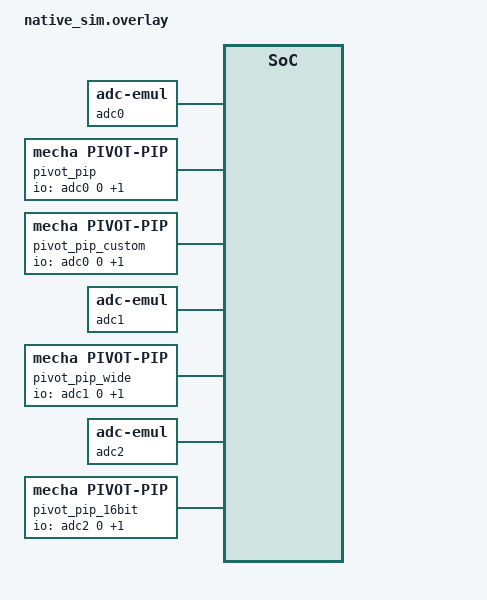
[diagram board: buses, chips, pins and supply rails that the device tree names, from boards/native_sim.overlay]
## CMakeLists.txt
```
# Copyright (c) 2026 Mecha Systems
# SPDX-License-Identifier: BSD-3-Clause

cmake_minimum_required(VERSION 3.20.0)

find_package(Zephyr REQUIRED HINTS $ENV{ZEPHYR_BASE})
project(pivot_pip)

target_sources(app PRIVATE src/main.c)
```

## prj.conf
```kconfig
CONFIG_ZTEST=y
CONFIG_INPUT=y
CONFIG_ADC=y
CONFIG_ADC_EMUL=y
```

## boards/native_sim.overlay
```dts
/*
 * Copyright (c) 2026 Mecha Systems
 *
 * SPDX-License-Identifier: BSD-3-Clause
 */

#include <zephyr/dt-bindings/adc/adc.h>
#include <zephyr/dt-bindings/input/input-event-codes.h>

/ {
	adc0: adc {
		compatible = "zephyr,adc-emul";
		nchannels = <2>;
		ref-internal-mv = <3300>;
		#io-channel-cells = <1>;
		#address-cells = <1>;
		#size-cells = <0>;
		status = "okay";

		channel@0 {
			reg = <0>;
			zephyr,gain = "ADC_GAIN_1";
			zephyr,reference = "ADC_REF_INTERNAL";
			zephyr,vref-mv = <3300>;
			zephyr,acquisition-time = <ADC_ACQ_TIME_DEFAULT>;
			zephyr,resolution = <12>;
		};

		channel@1 {
			reg = <1>;
			zephyr,gain = "ADC_GAIN_1";
			zephyr,reference = "ADC_REF_INTERNAL";
			zephyr,vref-mv = <3300>;
			zephyr,acquisition-time = <ADC_ACQ_TIME_DEFAULT>;
			zephyr,resolution = <12>;
		};
	};

	/* Defaults everywhere except the size of the stick and the sample time. */
	pivot_pip: pivot-pip {
		compatible = "mecha,pivot-pip";
		io-channels = <&adc0 0>, <&adc0 1>;
		io-channel-names = "x", "y";
		full-scale = <1000>;
		poll-period-ms = <4>;
	};

	/* Everything that can differ from the defaults, on the same two channels. */
	pivot_pip_custom: pivot-pip-custom {
		compatible = "mecha,pivot-pip";
		io-channels = <&adc0 0>, <&adc0 1>;
		io-channel-names = "x", "y";
		full-scale = <1000>;
		poll-period-ms = <4>;
		mode = "absolute";
		rel-codes = <INPUT_REL_RX INPUT_REL_RY>;
		abs-codes = <INPUT_ABS_RX INPUT_ABS_RY>;
		deadzone-percent = <10>;
		swapped-x-y;
		inverted-x;
	};

	/* An ADC wider than 16 bits, whose samples do not fit the driver. */
	adc1: adc-wide {
		compatible = "zephyr,adc-emul";
		nchannels = <2>;
		ref-internal-mv = <3300>;
		#io-channel-cells = <1>;
		#address-cells = <1>;
		#size-cells = <0>;
		status = "okay";

		channel@0 {
			reg = <0>;
			zephyr,gain = "ADC_GAIN_1";
			zephyr,reference = "ADC_REF_INTERNAL";
			zephyr,vref-mv = <3300>;
			zephyr,acquisition-time = <ADC_ACQ_TIME_DEFAULT>;
			zephyr,resolution = <24>;
		};

		channel@1 {
			reg = <1>;
			zephyr,gain = "ADC_GAIN_1";
			zephyr,reference = "ADC_REF_INTERNAL";
			zephyr,vref-mv = <3300>;
			zephyr,acquisition-time = <ADC_ACQ_TIME_DEFAULT>;
			zephyr,resolution = <24>;
		};
	};

	pivot_pip_wide: pivot-pip-wide {
		compatible = "mecha,pivot-pip";
		io-channels = <&adc1 0>, <&adc1 1>;
		io-channel-names = "x", "y";
		full-scale = <1000>;
	};

	/* A single-ended 16 bit ADC, which counts from 0 to 65535. */
	adc2: adc-16bit {
		compatible = "zephyr,adc-emul";
		nchannels = <2>;
		ref-internal-mv = <3300>;
		#io-channel-cells = <1>;
		#address-cells = <1>;
		#size-cells = <0>;
		status = "okay";

		channel@0 {
			reg = <0>;
			zephyr,gain = "ADC_GAIN_1";
			zephyr,reference = "ADC_REF_INTERNAL";
			zephyr,vref-mv = <3300>;
			zephyr,acquisition-time = <ADC_ACQ_TIME_DEFAULT>;
			zephyr,resolution = <16>;
		};

		channel@1 {
			reg = <1>;
			zephyr,gain = "ADC_GAIN_1";
			zephyr,reference = "ADC_REF_INTERNAL";
			zephyr,vref-mv = <3300>;
			zephyr,acquisition-time = <ADC_ACQ_TIME_DEFAULT>;
			zephyr,resolution = <16>;
		};
	};

	pivot_pip_16bit: pivot-pip-16bit {
		compatible = "mecha,pivot-pip";
		io-channels = <&adc2 0>, <&adc2 1>;
		io-channel-names = "x", "y";
		full-scale = <2000>;
		poll-period-ms = <4>;
	};
};
```

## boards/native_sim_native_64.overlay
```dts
/*
 * Copyright (c) 2026 Mecha Systems
 *
 * SPDX-License-Identifier: BSD-3-Clause
 */

#include "native_sim.overlay"
```

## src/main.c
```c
/*
 * Copyright (c) 2026 Mecha Systems
 *
 * SPDX-License-Identifier: BSD-3-Clause
 */

#include <stdlib.h>

#include <zephyr/device.h>
#include <zephyr/drivers/adc/adc_emul.h>
#include <zephyr/init.h>
#include <zephyr/input/input.h>
#include <zephyr/kernel.h>
#include <zephyr/sys/atomic.h>
#include <zephyr/ztest.h>

#include <mecha/input/pivot_pip.h>

#define PIP        DEVICE_DT_GET(DT_NODELABEL(pivot_pip))
#define PIP_CUSTOM DEVICE_DT_GET(DT_NODELABEL(pivot_pip_custom))
#define PIP_WIDE   DEVICE_DT_GET(DT_NODELABEL(pivot_pip_wide))
#define PIP_16BIT  DEVICE_DT_GET(DT_NODELABEL(pivot_pip_16bit))
#define ADC        DEVICE_DT_GET(DT_NODELABEL(adc0))
#define ADC_16BIT  DEVICE_DT_GET(DT_NODELABEL(adc2))

#define REST       2048
#define FULL_SCALE 1000
/* Rest value of the stick on the 16 bit ADC, just below the 32767 that a signed value reaches. */
#define REST_16BIT 32000

/* Events of the default stick, which uses INPUT_REL_X, INPUT_REL_Y, INPUT_ABS_X and INPUT_ABS_Y. */
static atomic_t dx;
static atomic_t dy;
static atomic_t abs_x;
static atomic_t abs_y;
static atomic_t rel_events;
static atomic_t abs_events;
static atomic_t other_codes;

/* Events of the custom stick, which uses the RX and RY codes. */
static atomic_t c_rel_x;
static atomic_t c_rel_y;
static atomic_t c_abs_x;
static atomic_t c_abs_y;
static atomic_t c_events;
static atomic_t c_other_codes;

/* Pointer motion of the stick on the 16 bit ADC. */
static atomic_t dx_16bit;

/* Mode of both sticks when they had just started. */
static enum pivot_pip_mode initial_mode;
static enum pivot_pip_mode initial_mode_custom;

static void input_cb(struct input_event *evt, void *user_data)
{
	ARG_UNUSED(user_data);

	if (evt->type == INPUT_EV_REL && (evt->code == INPUT_REL_X || evt->code == INPUT_REL_Y)) {
		atomic_inc(&rel_events);
		atomic_add(evt->code == INPUT_REL_X ? &dx : &dy, evt->value);
	} else if (evt->type == INPUT_EV_ABS &&
		   (evt->code == INPUT_ABS_X || evt->code == INPUT_ABS_Y)) {
		atomic_inc(&abs_events);
		atomic_set(evt->code == INPUT_ABS_X ? &abs_x : &abs_y, evt->value);
	} else {
		atomic_inc(&other_codes);
	}
}
INPUT_CALLBACK_DEFINE(PIP, input_cb, NULL);

static void custom_input_cb(struct input_event *evt, void *user_data)
{
	ARG_UNUSED(user_data);

	atomic_inc(&c_events);

	if (evt->type == INPUT_EV_REL && evt->code == INPUT_REL_RX) {
		atomic_add(&c_rel_x, evt->value);
	} else if (evt->type == INPUT_EV_REL && evt->code == INPUT_REL_RY) {
		atomic_add(&c_rel_y, evt->value);
	} else if (evt->type == INPUT_EV_ABS && evt->code == INPUT_ABS_RX) {
		atomic_set(&c_abs_x, evt->value);
	} else if (evt->type == INPUT_EV_ABS && evt->code == INPUT_ABS_RY) {
		atomic_set(&c_abs_y, evt->value);
	} else {
		atomic_inc(&c_other_codes);
	}
}
INPUT_CALLBACK_DEFINE(PIP_CUSTOM, custom_input_cb, NULL);

static void input_cb_16bit(struct input_event *evt, void *user_data)
{
	ARG_UNUSED(user_data);

	if (evt->type == INPUT_EV_REL && evt->code == INPUT_REL_X) {
		atomic_add(&dx_16bit, evt->value);
	}
}
INPUT_CALLBACK_DEFINE(PIP_16BIT, input_cb_16bit, NULL);

static void deflect(int32_t x, int32_t y)
{
	adc_emul_const_raw_value_set(ADC, 0, REST + x);
	adc_emul_const_raw_value_set(ADC, 1, REST + y);
}

/* The driver measures the idle centre as soon as it starts, so the stick must already be at rest.
 */
static int stick_at_rest(void)
{
	deflect(0, 0);
	adc_emul_const_raw_value_set(ADC_16BIT, 0, REST_16BIT);
	adc_emul_const_raw_value_set(ADC_16BIT, 1, REST_16BIT);

	return 0;
}
SYS_INIT(stick_at_rest, POST_KERNEL, 60);

static int remember_initial_modes(void)
{
	initial_mode = pivot_pip_get_mode(PIP);
	initial_mode_custom = pivot_pip_get_mode(PIP_CUSTOM);

	return 0;
}
SYS_INIT(remember_initial_modes, APPLICATION, 0);

static void clear_events(void)
{
	atomic_clear(&dx);
	atomic_clear(&dy);
	atomic_clear(&abs_x);
	atomic_clear(&abs_y);
	atomic_clear(&rel_events);
	atomic_clear(&abs_events);
	atomic_clear(&other_codes);
	atomic_clear(&c_rel_x);
	atomic_clear(&c_rel_y);
	atomic_clear(&c_abs_x);
	atomic_clear(&c_abs_y);
	atomic_clear(&c_events);
	atomic_clear(&c_other_codes);
}

/* Let the stick rest and forget what it reported. */
static void settle(void)
{
	deflect(0, 0);
	k_msleep(200);
	clear_events();
}

static void before(void *fixture)
{
	ARG_UNUSED(fixture);

	zassert_ok(pivot_pip_set_mode(PIP, PIVOT_PIP_MODE_RELATIVE));
	zassert_ok(pivot_pip_set_mode(PIP_CUSTOM, PIVOT_PIP_MODE_ABSOLUTE));
	settle();
}

ZTEST_SUITE(pivot_pip, NULL, NULL, before, NULL, NULL);

ZTEST(pivot_pip, test_idle_reports_nothing)
{
	k_msleep(400);

	zassert_equal(atomic_get(&rel_events), 0);
	zassert_equal(atomic_get(&abs_events), 0);
	zassert_equal(atomic_get(&c_events), 0);
}

ZTEST(pivot_pip, test_relative_motion_follows_deflection)
{
	/* 1000 counts per second at full deflection: about 400 counts in 400 ms. */
	deflect(FULL_SCALE, 0);
	k_msleep(400);
	zassert_between_inclusive(atomic_get(&dx), 360, 405);
	zassert_equal(atomic_get(&dy), 0);

	settle();

	deflect(-FULL_SCALE, 0);
	k_msleep(400);
	zassert_between_inclusive(atomic_get(&dx), -405, -360);
	zassert_equal(atomic_get(&dy), 0);
	zassert_equal(atomic_get(&other_codes), 0);
}

ZTEST(pivot_pip, test_response_curve_slows_small_deflections)
{
	deflect(FULL_SCALE, -FULL_SCALE / 2);
	k_msleep(400);

	zassert_between_inclusive(atomic_get(&dx), 360, 405);
	zassert_between_inclusive(atomic_get(&dy), -100, -70);
}

ZTEST(pivot_pip, test_motion_stops_at_rest)
{
	deflect(FULL_SCALE, FULL_SCALE);
	k_msleep(200);
	zassert_true(atomic_get(&dx) > 0);

	settle();

	k_msleep(300);
	zassert_equal(atomic_get(&rel_events), 0);
}

ZTEST(pivot_pip, test_absolute_mode_reports_stick_position)
{
	zassert_ok(pivot_pip_set_mode(PIP, PIVOT_PIP_MODE_ABSOLUTE));
	zassert_equal(pivot_pip_get_mode(PIP), PIVOT_PIP_MODE_ABSOLUTE);

	deflect(FULL_SCALE, 0);
	k_msleep(200);
	zassert_between_inclusive(atomic_get(&abs_x), 32000, 32767);
	zassert_equal(atomic_get(&abs_y), 0);
	zassert_equal(atomic_get(&rel_events), 0);

	/* Linear: 500 counts, less the 60 counts of deadzone, out of 940. */
	deflect(500, 0);
	k_msleep(200);
	zassert_within(atomic_get(&abs_x), 15336, 300);

	deflect(0, 0);
	k_msleep(200);
	zassert_equal(atomic_get(&abs_x), 0);
	zassert_equal(atomic_get(&other_codes), 0);
}

ZTEST(pivot_pip, test_leaving_absolute_mode_releases_the_axes)
{
	zassert_ok(pivot_pip_set_mode(PIP, PIVOT_PIP_MODE_ABSOLUTE));
	deflect(FULL_SCALE, -FULL_SCALE);
	k_msleep(200);
	zassert_true(atomic_get(&abs_x) > 0);
	zassert_true(atomic_get(&abs_y) < 0);

	zassert_ok(pivot_pip_set_mode(PIP, PIVOT_PIP_MODE_RELATIVE));
	k_msleep(100);

	zassert_equal(atomic_get(&abs_x), 0);
	zassert_equal(atomic_get(&abs_y), 0);
}

ZTEST(pivot_pip, test_invalid_mode_is_rejected)
{
	zassert_equal(pivot_pip_set_mode(PIP, 42), -EINVAL);
	zassert_equal(pivot_pip_get_mode(PIP), PIVOT_PIP_MODE_RELATIVE);
}

ZTEST(pivot_pip, test_mode_at_start_follows_the_devicetree)
{
	zassert_equal(initial_mode, PIVOT_PIP_MODE_RELATIVE, "the default is relative");
	zassert_equal(initial_mode_custom, PIVOT_PIP_MODE_ABSOLUTE);
}

ZTEST(pivot_pip, test_custom_absolute_codes_swap_and_invert)
{
	/* The X channel is swapped to Y, which is not inverted. */
	deflect(FULL_SCALE, 0);
	k_msleep(200);
	zassert_between_inclusive(atomic_get(&c_abs_y), 32000, 32767);
	zassert_equal(atomic_get(&c_abs_x), 0);

	settle();

	/* The Y channel is swapped to X, which is inverted. */
	deflect(0, FULL_SCALE);
	k_msleep(200);
	zassert_between_inclusive(atomic_get(&c_abs_x), -32767, -32000);
	zassert_equal(atomic_get(&c_abs_y), 0);

	/* Only the codes of the devicetree were used. */
	zassert_equal(atomic_get(&c_other_codes), 0);
}

ZTEST(pivot_pip, test_custom_relative_codes)
{
	zassert_ok(pivot_pip_set_mode(PIP_CUSTOM, PIVOT_PIP_MODE_RELATIVE));

	deflect(FULL_SCALE, 0);
	k_msleep(400);

	zassert_between_inclusive(atomic_get(&c_rel_y), 360, 405);
	zassert_equal(atomic_get(&c_rel_x), 0);
	zassert_equal(atomic_get(&c_other_codes), 0);
}

ZTEST(pivot_pip, test_deadzone_percent_is_applied)
{
	/* 8 percent is outside the default deadzone of 6 percent, but inside the 10 percent. */
	zassert_ok(pivot_pip_set_mode(PIP, PIVOT_PIP_MODE_ABSOLUTE));

	deflect(80, 0);
	k_msleep(200);

	zassert_true(atomic_get(&abs_x) > 300, "default deadzone: %ld", (long)atomic_get(&abs_x));
	zassert_equal(atomic_get(&c_abs_y), 0, "10 percent deadzone");
	zassert_equal(atomic_get(&c_events), 0);
}

ZTEST(pivot_pip, test_adc_wider_than_16_bits_is_rejected)
{
	zassert_true(device_is_ready(PIP));
	zassert_false(device_is_ready(PIP_WIDE));
}

/*
 * The centre is measured when the driver starts. A stick that is held then drifts once it is
 * let go. Holding the stick while measuring again is the same situation.
 */
ZTEST(pivot_pip, test_recalibrate_removes_the_drift_of_a_held_stick)
{
	zassert_ok(pivot_pip_set_mode(PIP, PIVOT_PIP_MODE_ABSOLUTE));

	/* The centre is measured while the stick is held... */
	deflect(400, 0);
	zassert_ok(pivot_pip_recalibrate(PIP));
	k_msleep(300);
	zexpect_equal(atomic_get(&abs_x), 0, "the held stick should be the new centre");

	/* ...so letting go looks like a push the other way. */
	deflect(0, 0);
	k_msleep(300);
	zexpect_within(atomic_get(&abs_x), -11851, 400, "no drift: %ld", (long)atomic_get(&abs_x));

	/* Measuring again with the stick at rest removes it. */
	zassert_ok(pivot_pip_recalibrate(PIP));
	k_msleep(300);
	zexpect_equal(atomic_get(&abs_x), 0, "still drifting: %ld", (long)atomic_get(&abs_x));
}

ZTEST(pivot_pip, test_recalibrate_stops_the_motion_of_a_drifting_pointer)
{
	deflect(400, 0);
	zassert_ok(pivot_pip_recalibrate(PIP));
	k_msleep(300);

	/* Letting go of the stick moves the pointer, as nothing is pushing it. */
	deflect(0, 0);
	k_msleep(300);
	clear_events();
	k_msleep(200);
	zexpect_true(atomic_get(&rel_events) > 0, "no drift to remove");

	zassert_ok(pivot_pip_recalibrate(PIP));
	k_msleep(300);
	clear_events();
	k_msleep(300);
	zexpect_equal(atomic_get(&rel_events), 0, "the pointer still drifts");
}

ZTEST(pivot_pip, test_single_ended_samples_above_32767_are_unsigned)
{
	/* A push from 32000 to 33500 goes across 32767, where a signed value turns negative. */
	k_msleep(200);
	atomic_clear(&dx_16bit);
	adc_emul_const_raw_value_set(ADC_16BIT, 0, REST_16BIT + 1500);
	k_msleep(200);

	zassert_true(atomic_get(&dx_16bit) > 0, "dx %ld", (long)atomic_get(&dx_16bit));

	adc_emul_const_raw_value_set(ADC_16BIT, 0, REST_16BIT);
}
```
